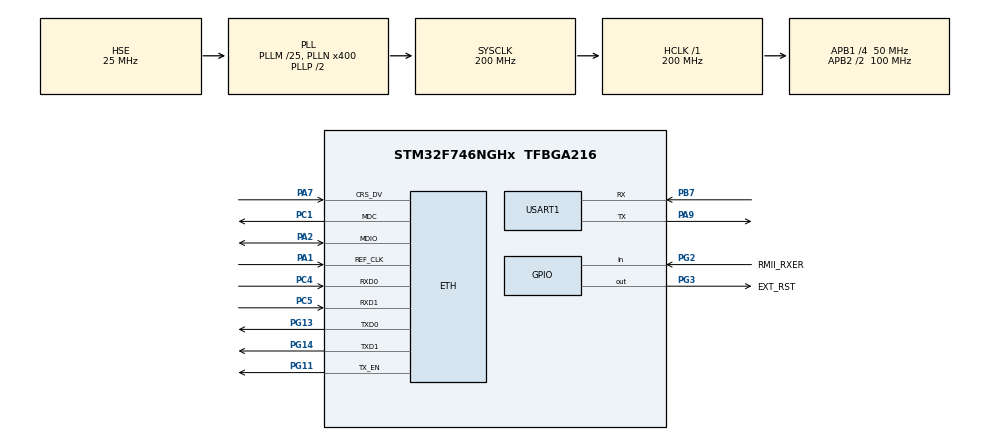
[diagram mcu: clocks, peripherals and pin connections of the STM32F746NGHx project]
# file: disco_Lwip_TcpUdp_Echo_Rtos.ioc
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ETH.MACAddr=00\:80\:E1\:00\:00\:01
ETH.MediaInterface=HAL_ETH_RMII_MODE
FREERTOS.Tasks01=defaultTask,0,4096,StartDefaultTask,Default,NULL,Dynamic,NULL,NULL
FREERTOS.configTOTAL_HEAP_SIZE=32768
FREERTOS.configUSE_NEWLIB_REENTRANT=1
LWIP.BSP.number=1
LWIP.GATEWAY_ADDRESS=192.168.001.001
LWIP.IP_ADDRESS=192.168.001.050
LWIP.LWIP_DHCP=1
LWIP.LWIP_RAM_HEAP_POINTER=0x20048000
LWIP.LWIP_TFTP=1
LWIP.NETMASK_ADDRESS=255.255.255.255
LWIP.Version=v2.1.2_Cube
LWIP0.BSP.STBoard=false
LWIP0.BSP.api=BSP_COMPONENT_DRIVER
LWIP0.BSP.component=LAN8742
LWIP0.BSP.instance=LAN8742
LWIP0.BSP.name=Driver_PHY
LWIP0.BSP.semaphore=S_LAN8742
LWIP0.BSP.solution=LAN8742
Mcu.Family=STM32F7
Mcu.Name=STM32F746NGHx
Mcu.Package=TFBGA216
NVIC.ETH_IRQn=true\:5\:0\:false\:false\:true\:true\:true\:true\:true
NVIC.ETH_WKUP_IRQn=true\:5\:0\:false\:false\:true\:true\:true\:true\:true
NVIC.PriorityGroup=NVIC_PRIORITYGROUP_4
NVIC.TIM6_DAC_IRQn=true\:15\:0\:false\:false\:true\:false\:false\:true\:true
NVIC.TimeBase=TIM6_DAC_IRQn
NVIC.TimeBaseIP=TIM6
PA1.Mode=RMII
PA1.Signal=ETH_REF_CLK
PA13.Mode=Serial_Wire
PA13.Signal=SYS_JTMS-SWDIO
PA14.Mode=Serial_Wire
PA14.Signal=SYS_JTCK-SWCLK
PA2.Mode=RMII
PA2.Signal=ETH_MDIO
PA7.Mode=RMII
PA7.Signal=ETH_CRS_DV
PA9.Mode=Asynchronous
PA9.Signal=USART1_TX
PB7.Mode=Asynchronous
PB7.Signal=USART1_RX
PC1.Mode=RMII
PC1.Signal=ETH_MDC
PC14/OSC32_IN.Mode=LSE-External-Oscillator
PC14/OSC32_IN.Signal=RCC_OSC32_IN
PC15/OSC32_OUT.Mode=LSE-External-Oscillator
PC15/OSC32_OUT.Signal=RCC_OSC32_OUT
PC4.Mode=RMII
PC4.Signal=ETH_RXD0
PC5.Mode=RMII
PC5.Signal=ETH_RXD1
PG11.Mode=RMII
PG11.Signal=ETH_TX_EN
PG13.Mode=RMII
PG13.Signal=ETH_TXD0
PG14.Mode=RMII
PG14.Signal=ETH_TXD1
PG2.GPIO_Label=RMII_RXER
PG2.Signal=GPIO_Input
PG3.GPIO_Label=EXT_RST
PG3.Signal=GPIO_Output
PH0/OSC_IN.Mode=HSE-External-Oscillator
PH0/OSC_IN.Signal=RCC_OSC_IN
PH1/OSC_OUT.Mode=HSE-External-Oscillator
PH1/OSC_OUT.Signal=RCC_OSC_OUT
ProjectManager.HeapSize=0x2000
ProjectManager.StackSize=0x4000
ProjectManager.TargetToolchain=STM32CubeIDE
RCC.AHBFreq_Value=200000000
RCC.APB1CLKDivider=RCC_HCLK_DIV4
RCC.APB1Freq_Value=50000000
RCC.APB1TimFreq_Value=100000000
RCC.APB2CLKDivider=RCC_HCLK_DIV2
RCC.APB2Freq_Value=100000000
RCC.APB2TimFreq_Value=200000000
RCC.CortexFreq_Value=200000000
RCC.HCLKFreq_Value=200000000
RCC.HSE_VALUE=25000000
RCC.HSI_VALUE=16000000
RCC.PLL48CLockSelection=RCC_CLK48SOURCE_PLLSAIP
RCC.PLLI2SN=100
RCC.PLLM=25
RCC.PLLN=400
RCC.PLLQ=9
RCC.PLLSAIN=384
RCC.PLLSAIP=RCC_PLLSAIP_DIV8
RCC.PLLSAIR=5
RCC.PLLSAIRDiv=RCC_PLLSAIDIVR_8
RCC.PLLSourceVirtual=RCC_PLLSOURCE_HSE
RCC.SDMMCClockSelection=RCC_SDMMC1CLKSOURCE_CLK48
RCC.SYSCLKFreq_VALUE=200000000
RCC.SYSCLKSource=RCC_SYSCLKSOURCE_PLLCLK
RCC.USBFreq_Value=48000000
RCC.VCOOutputFreq_Value=400000000
USART1.VirtualMode-Asynchronous=VM_ASYNC
VP_CRC_VS_CRC.Mode=CRC_Activate
VP_FATFS_VS_Generic.Mode=User_defined
VP_FREERTOS_VS_CMSIS_V1.Mode=CMSIS_V1
VP_LWIP_VS_Enabled.Mode=Enabled
VP_SYS_VS_tim6.Mode=TIM6
board=STM32F746G-DISCO

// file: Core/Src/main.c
/* USER CODE BEGIN Header */
/**
  ******************************************************************************
  * @file           : main.c
  * @brief          : Main program body
  ******************************************************************************
  * @attention
  *
  * Copyright (c) 2025 STMicroelectronics.
  * All rights reserved.
  *
  * This software is licensed under terms that can be found in the LICENSE file
  * in the root directory of this software component.
  * If no LICENSE file comes with this software, it is provided AS-IS.
  *
  ******************************************************************************
  */
/* USER CODE END Header */
#include "main.h"
#include "cmsis_os.h"
#include "fatfs.h"
#include "lwip.h"

/* USER CODE BEGIN Includes */
#include <stdio.h>
#include "lwip_rtos.h"
/* USER CODE END Includes */

CRC_HandleTypeDef hcrc;

UART_HandleTypeDef huart1;

osThreadId defaultTaskHandle;

void SystemClock_Config(void);
static void MX_GPIO_Init(void);
static void MX_USART1_UART_Init(void);
static void MX_CRC_Init(void);
void StartDefaultTask(void const * argument);

/* USER CODE BEGIN 0 */
int _write(int file, char *ptr, int len) {
    for (int i = 0; i < len; i++) {
        HAL_UART_Transmit(&huart1, (uint8_t *)&ptr[i], 1, HAL_MAX_DELAY);
    }
    return len;
}

extern struct netif *netif_default;

/* USER CODE END 0 */

int main(void)
{

  /* MCU Configuration--------------------------------------------------------*/

  /* Reset of all peripherals, Initializes the Flash interface and the Systick. */
  HAL_Init();

  /* Configure the system clock */
  SystemClock_Config();

  /* Initialize all configured peripherals */
  MX_GPIO_Init();
  MX_USART1_UART_Init();
  MX_CRC_Init();
  MX_FATFS_Init();
  /* USER CODE BEGIN 2 */
  setvbuf(stdout, NULL, _IONBF, 0);

  /* USER CODE END 2 */

  /* Create the thread(s) */
  /* definition and creation of defaultTask */
  osThreadDef(defaultTask, StartDefaultTask, osPriorityNormal, 0, 4096);
  defaultTaskHandle = osThreadCreate(osThread(defaultTask), NULL);

  /* Start scheduler */
  osKernelStart();

  /* We should never get here as control is now taken by the scheduler */

  /* Infinite loop */
  while (1)
  {

  }
}

void SystemClock_Config(void)
{
  RCC_OscInitTypeDef RCC_OscInitStruct = {0};
  RCC_ClkInitTypeDef RCC_ClkInitStruct = {0};

  /** Configure LSE Drive Capability
  */
  HAL_PWR_EnableBkUpAccess();

  /** Configure the main internal regulator output voltage
  */
  __HAL_RCC_PWR_CLK_ENABLE();
  __HAL_PWR_VOLTAGESCALING_CONFIG(PWR_REGULATOR_VOLTAGE_SCALE1);

  /** Initializes the RCC Oscillators according to the specified parameters
  * in the RCC_OscInitTypeDef structure.
  */
  RCC_OscInitStruct.OscillatorType = RCC_OSCILLATORTYPE_HSE;
  RCC_OscInitStruct.HSEState = RCC_HSE_ON;
  RCC_OscInitStruct.PLL.PLLState = RCC_PLL_ON;
  RCC_OscInitStruct.PLL.PLLSource = RCC_PLLSOURCE_HSE;
  RCC_OscInitStruct.PLL.PLLM = 25;
  RCC_OscInitStruct.PLL.PLLN = 400;
  RCC_OscInitStruct.PLL.PLLP = RCC_PLLP_DIV2;
  RCC_OscInitStruct.PLL.PLLQ = 9;
  if (HAL_RCC_OscConfig(&RCC_OscInitStruct) != HAL_OK)
  {
    Error_Handler();
  }

  /** Activate the Over-Drive mode
  */
  if (HAL_PWREx_EnableOverDrive() != HAL_OK)
  {
    Error_Handler();
  }

  /** Initializes the CPU, AHB and APB buses clocks
  */
  RCC_ClkInitStruct.ClockType = RCC_CLOCKTYPE_HCLK|RCC_CLOCKTYPE_SYSCLK
                              |RCC_CLOCKTYPE_PCLK1|RCC_CLOCKTYPE_PCLK2;
  RCC_ClkInitStruct.SYSCLKSource = RCC_SYSCLKSOURCE_PLLCLK;
  RCC_ClkInitStruct.AHBCLKDivider = RCC_SYSCLK_DIV1;
  RCC_ClkInitStruct.APB1CLKDivider = RCC_HCLK_DIV4;
  RCC_ClkInitStruct.APB2CLKDivider = RCC_HCLK_DIV2;

  if (HAL_RCC_ClockConfig(&RCC_ClkInitStruct, FLASH_LATENCY_6) != HAL_OK)
  {
    Error_Handler();
  }
}

static void MX_CRC_Init(void)
{

  hcrc.Instance = CRC;
  hcrc.Init.DefaultPolynomialUse = DEFAULT_POLYNOMIAL_ENABLE;
  hcrc.Init.DefaultInitValueUse = DEFAULT_INIT_VALUE_ENABLE;
  hcrc.Init.InputDataInversionMode = CRC_INPUTDATA_INVERSION_NONE;
  hcrc.Init.OutputDataInversionMode = CRC_OUTPUTDATA_INVERSION_DISABLE;
  hcrc.InputDataFormat = CRC_INPUTDATA_FORMAT_BYTES;
  if (HAL_CRC_Init(&hcrc) != HAL_OK)
  {
    Error_Handler();
  }

}

static void MX_USART1_UART_Init(void)
{

  huart1.Instance = USART1;
  huart1.Init.BaudRate = 115200;
  huart1.Init.WordLength = UART_WORDLENGTH_8B;
  huart1.Init.StopBits = UART_STOPBITS_1;
  huart1.Init.Parity = UART_PARITY_NONE;
  huart1.Init.Mode = UART_MODE_TX_RX;
  huart1.Init.HwFlowCtl = UART_HWCONTROL_NONE;
  huart1.Init.OverSampling = UART_OVERSAMPLING_16;
  huart1.Init.OneBitSampling = UART_ONE_BIT_SAMPLE_DISABLE;
  huart1.AdvancedInit.AdvFeatureInit = UART_ADVFEATURE_NO_INIT;
  if (HAL_UART_Init(&huart1) != HAL_OK)
  {
    Error_Handler();
  }

}

static void MX_GPIO_Init(void)
{
  GPIO_InitTypeDef GPIO_InitStruct = {0};

  /* GPIO Ports Clock Enable */
  __HAL_RCC_GPIOG_CLK_ENABLE();
  __HAL_RCC_GPIOA_CLK_ENABLE();
  __HAL_RCC_GPIOB_CLK_ENABLE();
  __HAL_RCC_GPIOC_CLK_ENABLE();
  __HAL_RCC_GPIOH_CLK_ENABLE();

  /*Configure GPIO pin Output Level */
  HAL_GPIO_WritePin(EXT_RST_GPIO_Port, EXT_RST_Pin, GPIO_PIN_RESET);

  /*Configure GPIO pin : EXT_RST_Pin */
  GPIO_InitStruct.Pin = EXT_RST_Pin;
  GPIO_InitStruct.Mode = GPIO_MODE_OUTPUT_PP;
  GPIO_InitStruct.Pull = GPIO_NOPULL;
  GPIO_InitStruct.Speed = GPIO_SPEED_FREQ_LOW;
  HAL_GPIO_Init(EXT_RST_GPIO_Port, &GPIO_InitStruct);

  /*Configure GPIO pin : RMII_RXER_Pin */
  GPIO_InitStruct.Pin = RMII_RXER_Pin;
  GPIO_InitStruct.Mode = GPIO_MODE_INPUT;
  GPIO_InitStruct.Pull = GPIO_NOPULL;
  HAL_GPIO_Init(RMII_RXER_GPIO_Port, &GPIO_InitStruct);

}

/* USER CODE BEGIN 4 */

extern struct netif gnetif; // LWIP network interface
#include "tftp_con.h"
/* USER CODE END 4 */

void StartDefaultTask(void const * argument)
{
  /* init code for LWIP */
  MX_LWIP_Init();
  /* USER CODE BEGIN 5 */
  /* Infinite loop */
  while (gnetif.ip_addr.addr == 0) {
    osDelay(500);  // 500ms bekle
  }
  /* IP Adresini yazdır */
  printf("DHCP IP: %s\n", ip4addr_ntoa(&gnetif.ip_addr));

  //tcpecho_init();
  //udpecho_init();
  tftp_init_con();

  for(;;)
  {
    osDelay(100);
  }
  /* USER CODE END 5 */
}

void HAL_TIM_PeriodElapsedCallback(TIM_HandleTypeDef *htim)
{
  if (htim->Instance == TIM6) {
    HAL_IncTick();
  }
}

void Error_Handler(void)
{
  __disable_irq();
  while (1)
  {
  }
}
